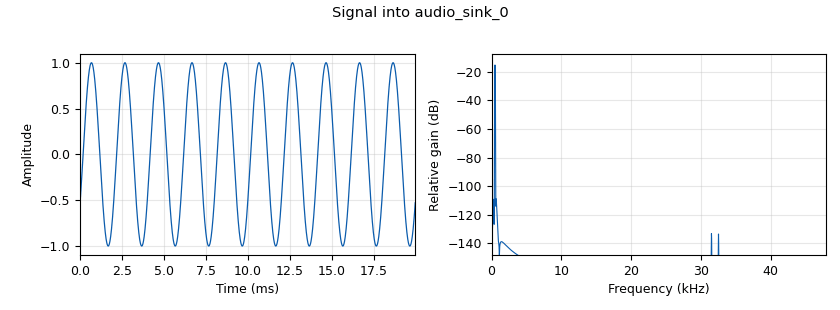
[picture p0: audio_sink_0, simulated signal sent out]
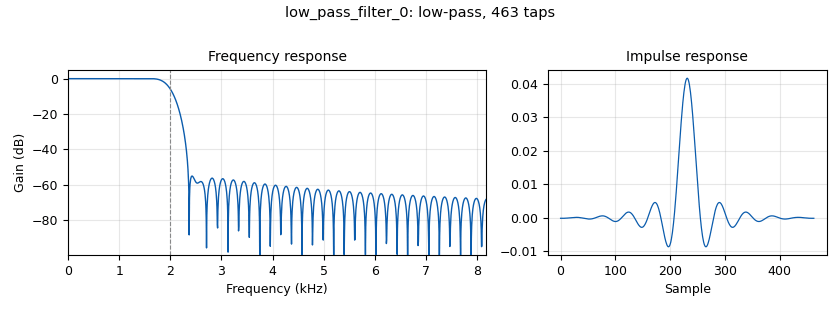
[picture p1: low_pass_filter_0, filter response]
options:
  parameters:
    author: adrian
    generate_options: qt_gui
    id: ITD
    output_language: python
    title: ITD
  states: {}

blocks:
- name: A
  id: variable_qtgui_range
  parameters:
    start: '0'
    step: '.01'
    stop: '10'
    value: '1'
  states: {}
- name: avg_window
  id: variable
  parameters:
    value: int(samp_rate/32)
  states: {}
- name: f
  id: variable_qtgui_range
  parameters:
    label: f
    start: '100'
    step: '10'
    stop: '5000'
    value: '500'
  states: {}
- name: samp_rate
  id: variable
  parameters:
    value: '96000'
  states: {}
- name: analog_sig_source_x_0
  id: analog_sig_source_x
  parameters:
    amp: '1'
    freq: f
    offset: '0'
    phase: '0'
    samp_rate: samp_rate
    type: float
    waveform: analog.GR_COS_WAVE
  states: {}
- name: audio_sink_0
  id: audio_sink
  parameters:
    samp_rate: samp_rate
  states: {}
- name: audio_source_0
  id: audio_source
  parameters:
    num_outputs: '2'
    samp_rate: samp_rate
  states: {}
- name: blocks_abs_xx_0
  id: blocks_abs_xx
  parameters:
    type: float
  states: {}
- name: blocks_abs_xx_0_0
  id: blocks_abs_xx
  parameters:
    type: float
  states: {}
- name: blocks_argmax_xx_0
  id: blocks_argmax_xx
  parameters:
    type: float
  states: {}
- name: blocks_file_sink_0
  id: blocks_file_sink
  parameters:
    file: /dev/ttyACM0
    type: complex
  states: {state: disabled}
- name: blocks_integrate_xx_0
  id: blocks_integrate_xx
  parameters:
    decim: avg_window
    type: float
  states: {state: disabled}
- name: blocks_integrate_xx_0_0
  id: blocks_integrate_xx
  parameters:
    decim: avg_window
    type: float
  states: {state: disabled}
- name: blocks_moving_average_xx_0
  id: blocks_moving_average_xx
  parameters:
    length: avg_window
    max_iter: '4000'
    scale: 1/avg_window
    type: float
  states: {}
- name: blocks_moving_average_xx_0_1
  id: blocks_moving_average_xx
  parameters:
    length: avg_window
    max_iter: '4000'
    scale: 1/avg_window
    type: float
  states: {}
- name: blocks_multiply_const_xx_0
  id: blocks_multiply_const_xx
  parameters:
    const: A
    type: float
  states: {}
- name: low_pass_filter_0
  id: low_pass_filter
  parameters:
    cutoff_freq: '2000'
    decim: '1'
    gain: '1'
    samp_rate: samp_rate
    type: fir_filter_fff
    width: '500'
    win: window.WIN_HAMMING
  states: {}
- name: low_pass_filter_0_0
  id: low_pass_filter
  parameters:
    cutoff_freq: '2000'
    decim: '1'
    gain: '1'
    samp_rate: samp_rate
    type: fir_filter_fff
    width: '500'
    win: window.WIN_HAMMING
  states: {}
- name: qtgui_time_sink_x_0
  id: qtgui_time_sink_x
  parameters:
    label1: L
    label2: R
    label3: LR
    nconnections: '3'
    size: '1028'
    srate: samp_rate
    type: float
  states: {}

connections:
- [analog_sig_source_x_0, '0', audio_sink_0, '0']
- [audio_source_0, '0', low_pass_filter_0, '0']
- [audio_source_0, '1', blocks_multiply_const_xx_0, '0']
- [blocks_abs_xx_0, '0', blocks_integrate_xx_0, '0']
- [blocks_abs_xx_0, '0', blocks_moving_average_xx_0, '0']
- [blocks_abs_xx_0_0, '0', blocks_integrate_xx_0_0, '0']
- [blocks_abs_xx_0_0, '0', blocks_moving_average_xx_0_1, '0']
- [blocks_integrate_xx_0, '0', qtgui_time_sink_x_0, '0']
- [blocks_integrate_xx_0_0, '0', qtgui_time_sink_x_0, '1']
- [blocks_moving_average_xx_0, '0', qtgui_time_sink_x_0, '0']
- [blocks_moving_average_xx_0_1, '0', qtgui_time_sink_x_0, '1']
- [blocks_multiply_const_xx_0, '0', low_pass_filter_0_0, '0']
- [low_pass_filter_0, '0', blocks_abs_xx_0, '0']
- [low_pass_filter_0_0, '0', blocks_abs_xx_0_0, '0']

metadata:
  file_format: 1
